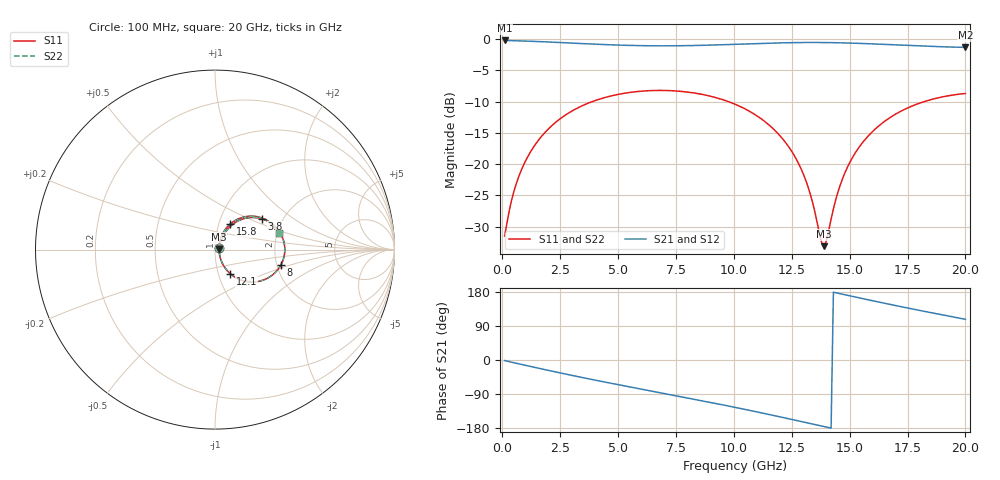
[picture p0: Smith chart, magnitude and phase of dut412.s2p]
! Touchstone file exported from HFSS 2026.1.0
!  File:  C:/ffzhzh/LocalFiles/Ansys_Project_Files/temp_train_TSV_RDL_412_1783094415_50312.aedt
!  Generated:  12:10:31 AM Jul  4, 2026
!  Design:  TSV_RDL
!  Project:  temp_train_TSV_RDL_412_1783094415_50312
! Variables:
!  h_bsmrdl = 2.7um
!  h_ox = 20um
!  h_rdl = 5um
!  h_sub = 51.7um
!  h_tmrdl = 5.39um
!  h_tsv = 51.7um
!  h_via = 3um
!  l_bsmrdl = 682.1um
!  l_sub = 4520.77um
!  l_tmrdl = 493.2um
!  m_sub = 200um
!  pitch = 30.14um
!  r_tsv = 6.86um
!  s_tmrdl = 10um
!  w_bsmrdl = 18.98um
!  w_sub = 500um
!  w_tmrdl = 14.91um
!  x_tsv_center1 = 500.655um
!  x_tsv_center2 = 1201.735um
!  x_tsv_center3 = 1709.845um
!  x_tsv_center4 = 2410.925um
!  x_tsv_center5 = 2919.035um
!  x_tsv_center6 = 3620.115um
# GHz S MA R 50.000000
! Terminal data exported
! Port[1] = TM_RDL1_1_T1
! Port[2] = TM_RDL5_1_T1
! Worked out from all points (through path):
!   200 points, 100 MHz to 20 GHz, reference 50 ohm
!   highest |S21| = -0.21 dB at 100 MHz (marker M1); lowest = -1.3 dB at 20 GHz (marker M2)
!   group delay of S21, straight-line fit = 34.9 ps
!   lowest |S11| = -33.1 dB at 13.9 GHz (marker M3), VSWR 1.05, Z = 52.3 + j0.195 ohm
!   |S11| at or under -10 dB: start of sweep to 3.877 GHz; 9.769 GHz to 18.21 GHz (8.443 GHz wide, 60.3 % of centre)
!   |S22| runs from -32.8 to -8.2 dB; largest |S21 - S12| = 1.7e-14
!   S11 on the Smith chart (normalised r, x): 100 MHz: 1.05, +0.02; 3.8 GHz: 1.57, +0.60; 8 GHz: 2.11, -0.42; 12.1 GHz: 1.14, -0.32; 15.8 GHz: 1.14, +0.34; 20 GHz: 2.04, +0.43
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0.1  0.02666 24.5  0.976 -1.5  0.976 -1.5  0.02666 24.5
! Gamma 0 0 0 0
! Port Impedance 50 0 50 0
0.5  0.06051 55.4  0.9707 -7.2  0.9707 -7.2  0.06051 55.4
1.2  0.1238 58.8  0.9619 -16.8  0.9619 -16.8  0.1238 58.8
2.2  0.2082 50.8  0.9454 -30.2  0.9454 -30.2  0.2082 50.8
3.5  0.2962 36.7  0.9204 -46.8  0.9204 -46.8  0.2962 36.7
3.8  0.3124 33.3  0.9149 -50.6  0.9149 -50.6  0.3124 33.4
5.3  0.3699 16.7  0.8929 -68.6  0.8929 -68.6  0.3699 16.7
6.8  0.3891 0.2  0.8839 -86.1  0.8839 -86.1  0.3891 0.3
8  0.3774 -12.9  0.8872 -100.1  0.8872 -100.1  0.3774 -12.9
10.1  0.299 -36.4  0.91 -125.6  0.91 -125.6  0.2991 -36.3
11.2  0.2294 -48.6  0.9248 -139.6  0.9248 -139.6  0.2295 -48.5
12.1  0.1601 -57.6  0.9346 -151.4  0.9346 -151.4  0.1602 -57.4
12.9  0.09221 -62.0  0.9396 -162.2  0.9396 -162.2  0.09235 -61.7
13.4  0.04952 -55.9  0.9404 -168.9  0.9404 -168.9  0.0498 -55.3
13.8  0.02338 -16.9  0.9397 -174.4  0.9397 -174.4  0.02401 -16.3
13.9  0.02212 4.8  0.9393 -175.7  0.9393 -175.7  0.02279 4.8
14.7  0.07709 64.0  0.9336 173.5  0.9336 173.5  0.07731 63.5
15.2  0.1194 63.6  0.9279 166.8  0.9279 166.8  0.1195 63.2
15.8  0.1679 59.1  0.9193 158.9  0.9193 158.9  0.168 58.8
16.7  0.2331 50.1  0.9042 147.3  0.9042 147.3  0.2332 49.9
18.3  0.32 32.7  0.8777 127.5  0.8777 127.5  0.32 32.6
20  0.3676 14.4  0.8596 107.5  0.8596 107.5  0.3676 14.2
